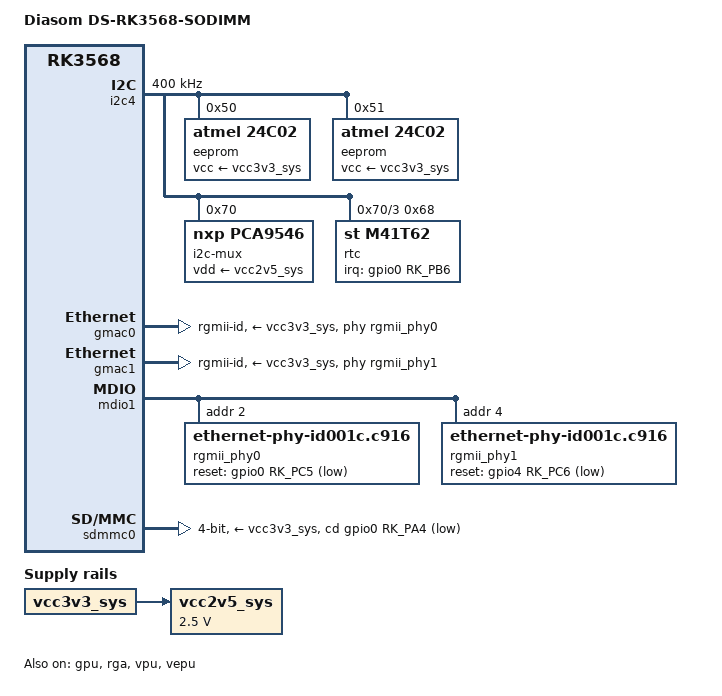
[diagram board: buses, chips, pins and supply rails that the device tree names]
/* SPDX-License-Identifier: GPL-2.0+ */
/* SPDX-FileCopyrightText: Alexander Shiyan <shc_work@mail.ru> */

/dts-v1/;

#include "rk3568-diasom-som.dtsi"

/ {
	model = "Diasom DS-RK3568-SODIMM";
	compatible = "diasom,ds-rk3568-som-sodimm",
		     "diasom,ds-rk3568-som",
		     "rockchip,rk3568";

	aliases {
		ethernet0 = &gmac0;
		ethernet1 = &gmac1;
		i2c6 = &i2c6;
		i2c7 = &i2c7;
		i2c8 = &i2c8;
		i2c9 = &i2c9;
		mmc1 = &sdmmc0;
	};

	chosen {
		environment-sd {
			compatible = "barebox,environment";
			device-path = &sdmmc0, "partname:env";
			status = "disabled";
		};
	};

	vcc2v5_sys: vcc2v5-sys-regulator {
		compatible = "regulator-fixed";
		regulator-name = "2v5_sys";
		regulator-always-on;
		regulator-boot-on;
		regulator-min-microvolt = <2500000>;
		regulator-max-microvolt = <2500000>;
		vin-supply = <&vcc3v3_sys>;
	};
};

&i2c4 {
	clock-frequency = <400000>;
	status = "okay";

	/* 24aa025e48 */
	eeprom@50 {
		compatible = "atmel,24c02";
		reg = <0x50>;
		pagesize = <16>;
		vcc-supply = <&vcc3v3_sys>;

		nvmem-layout {
			compatible = "fixed-layout";
			#address-cells = <1>;
			#size-cells = <1>;

			mac0: mac-address@fa {
				reg = <0xfa 0x06>;
				read-only;
			};
		};
	};

	/* 24aa025e48 */
	eeprom@51 {
		compatible = "atmel,24c02";
		reg = <0x51>;
		pagesize = <16>;
		vcc-supply = <&vcc3v3_sys>;

		nvmem-layout {
			compatible = "fixed-layout";
			#address-cells = <1>;
			#size-cells = <1>;

			mac1: mac-address@fa {
				reg = <0xfa 0x06>;
				read-only;
			};
		};
	};

	i2c-mux@70 {
		compatible = "nxp,pca9546";
		reg = <0x70>;
		i2c-mux-idle-disconnect;
		vdd-supply = <&vcc2v5_sys>;
		#address-cells = <1>;
		#size-cells = <0>;

		i2c6: i2c@0 {
			reg = <0>;
			#address-cells = <1>;
			#size-cells = <0>;
		};

		i2c7: i2c@1 {
			reg = <1>;
			#address-cells = <1>;
			#size-cells = <0>;
		};

		i2c8: i2c@2 {
			reg = <2>;
			#address-cells = <1>;
			#size-cells = <0>;
		};

		i2c9: i2c@3 {
			reg = <3>;
			#address-cells = <1>;
			#size-cells = <0>;

			rtc: rtc@68 {
				pinctrl-names = "default";
				pinctrl-0 = <&rtc_pins>;
				compatible = "st,m41t62";
				reg = <0x68>;
				interrupt-parent = <&gpio0>;
				interrupts = <RK_PB6 IRQ_TYPE_LEVEL_LOW>;
				wakeup-source;
				#clock-cells = <0>;
			};
		};
	};
};

&gmac0 {
	assigned-clocks = <&cru SCLK_GMAC0_RX_TX>, <&cru SCLK_GMAC0>;
	assigned-clock-parents = <&cru SCLK_GMAC0_RGMII_SPEED>;
	assigned-clock-rates = <0>, <125000000>;
	pinctrl-names = "default";
	pinctrl-0 = <
		&gmac0_tx_bus2 &gmac0_rx_bus2
		&gmac0_rgmii_clk &gmac0_rgmii_bus
	>;
	clock_in_out = "output";
	phy-handle = <&rgmii_phy0>;
	phy-mode = "rgmii-id";
	phy-supply = <&vcc3v3_sys>;
	nvmem-cells = <&mac0>;
	nvmem-cell-names = "mac-address";
	status = "okay";
};

&gmac1 {
	assigned-clocks = <&cru SCLK_GMAC1_RX_TX>, <&cru SCLK_GMAC1>;
	assigned-clock-parents = <&cru SCLK_GMAC1_RGMII_SPEED>;
	assigned-clock-rates = <0>, <125000000>;
	pinctrl-names = "default";
	pinctrl-0 = <
		&gmac1m1_tx_bus2 &gmac1m1_rx_bus2
		&gmac1m1_rgmii_clk &gmac1m1_rgmii_bus
	>;
	clock_in_out = "output";
	phy-handle = <&rgmii_phy1>;
	phy-mode = "rgmii-id";
	phy-supply = <&vcc3v3_sys>;
	nvmem-cells = <&mac1>;
	nvmem-cell-names = "mac-address";
	status = "okay";
};

&gpu {
	status = "okay";
};

&mdio0 {
	status = "disabled";
};

&mdio1 {
	rgmii_phy0: phy@2 {
		/* RTL8211F */
		pinctrl-names = "default";
		pinctrl-0 = <&gmac0_rst_pins>;
		compatible = "ethernet-phy-id001c.c916";
		reg = <0x2>;
		reset-assert-us = <20000>;
		reset-deassert-us = <100000>;
		reset-gpios = <&gpio0 RK_PC5 GPIO_ACTIVE_LOW>;
	};

	rgmii_phy1: phy@4 {
		/* RTL8211F */
		pinctrl-names = "default";
		pinctrl-0 = <&gmac1_rst_pins>;
		compatible = "ethernet-phy-id001c.c916";
		reg = <0x4>;
		reset-assert-us = <20000>;
		reset-deassert-us = <100000>;
		reset-gpios = <&gpio4 RK_PC6 GPIO_ACTIVE_LOW>;
	};
};

//&pcie2x1 {
//	pinctrl-names = "default";
//	pinctrl-0 = <&pcie20m2_pins>;
//	reset-gpios = <&gpio1 RK_PB2 GPIO_ACTIVE_HIGH>;
//	vpcie3v3-supply = <&vcc3v3_sys>;
//	status = "okay";
//};

&rga {
	status = "okay";
};

&sdmmc0 {
	pinctrl-names = "default";
	pinctrl-0 = <&sdmmc0_bus4 &sdmmc0_clk &sdmmc0_cmd &sdmmc0_det>;
	bus-width = <4>;
	cap-mmc-highspeed;
	cap-sd-highspeed;
	cd-gpios = <&gpio0 RK_PA4 GPIO_ACTIVE_LOW>;
	disable-wp;
	sd-uhs-sdr104;
	vmmc-supply = <&vcc3v3_sys>;
	vqmmc-supply = <&vccio_sd>;
	status = "okay";
};

&uart3 {
	/* SODIMM UART1 */
	pinctrl-0 = <&uart3m0_xfer &uart3m0_ctsn &uart3m0_rtsn>;
};

&uart4 {
	/* SODIMM UART0 */
	pinctrl-0 = <&uart4m0_xfer &uart4m0_ctsn &uart4m0_rtsn>;
};

&vpu {
	status = "okay";
};

&vdpu_mmu {
	status = "okay";
};

&vepu {
	status = "okay";
};

&vepu_mmu {
	status = "okay";
};

&pinctrl {
	pinctrl-names = "default";
	pinctrl-0 = <&gmac1m1_miim>;

	net {
		gmac0_rst_pins: gmac0-rst-pins {
			rockchip,pins =
				<0 RK_PC5 RK_FUNC_GPIO &pcfg_pull_none>;	/* GMAC0_RST */
		};

		gmac1_rst_pins: gmac1-rst-pins {
			rockchip,pins =
				<4 RK_PC6 RK_FUNC_GPIO &pcfg_pull_none>;	/* GMAC1_RST */
		};
	};

	rtc {
		rtc_pins: rtc-pins {
			rockchip,pins =
				<0 RK_PB6 RK_FUNC_GPIO &pcfg_pull_none>;	/* RTC_IRQ */
		};
	};
};
